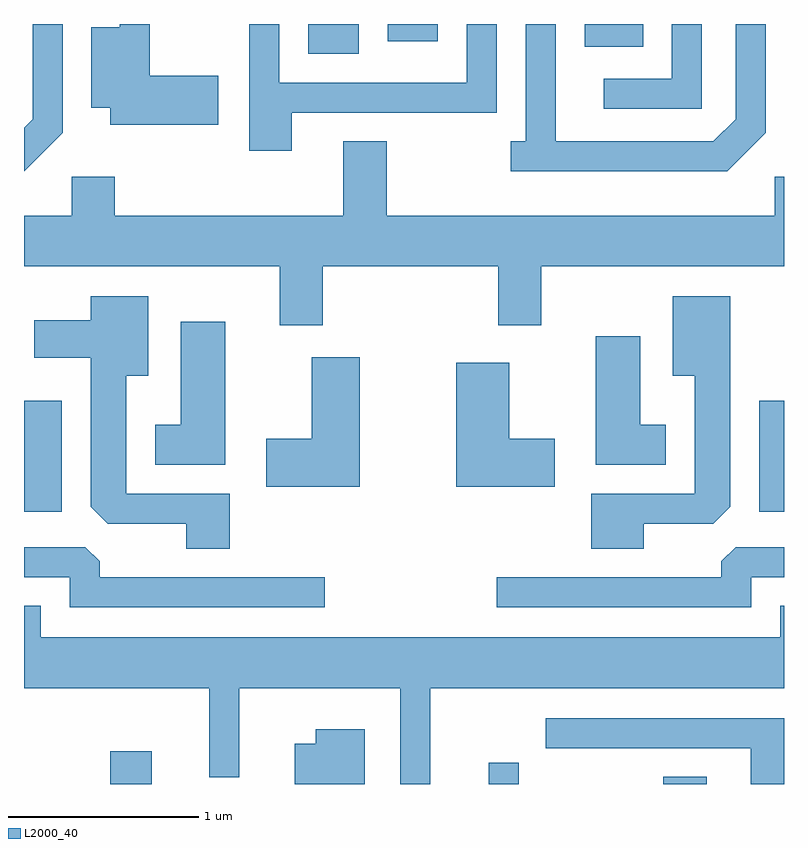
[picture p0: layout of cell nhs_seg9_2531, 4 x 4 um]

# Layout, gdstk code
import gdstk
lib = gdstk.Library(unit=1e-6, precision=1e-09)
def R(c, l, rs):  # rectangles x0, y0, x1, y1
    for r in rs: c.add(gdstk.rectangle(r[:2], r[2:], *l))
def P(c, l, *ps):  # polygons
    for p in ps: c.add(gdstk.Polygon(p, *l))
L2000_40 = (2000, 40)

nhs_seg9_2531 = lib.new_cell('nhs_seg9_2531')
R(nhs_seg9_2531, L2000_40, [(260.066,1982.432,260.284,1982.604), (262.056,1982.432,262.214,1982.543), (262.976,1982.432,263.204,1982.469), (259.611,1983.866,259.809,1984.449), (263.481,1983.866,263.611,1984.449), (261.106,1986.276,261.374,1986.432), (262.561,1986.311,262.869,1986.432), (261.526,1986.341,261.789,1986.432)])
P(nhs_seg9_2531, L2000_40, [(263.179,1986.432),(263.021,1986.432),(263.021,1986.144),(262.663,1986.144),(262.663,1985.986),(263.179,1985.986)],
  [(259.814,1985.859),(259.814,1986.432),(259.656,1986.432),(259.656,1985.932),(259.611,1985.887),(259.611,1985.656)],
  [(260.634,1986.159),(260.274,1986.159),(260.274,1986.432),(260.116,1986.432),(260.116,1986.414),(259.966,1986.414),(259.966,1985.991),(260.066,1985.991),(260.066,1985.901),(260.634,1985.901)],
  [(263.514,1985.859),(263.514,1986.432),(263.356,1986.432),(263.356,1985.932),(263.239,1985.814),(262.409,1985.814),(262.409,1986.432),(262.251,1986.432),(262.251,1985.814),(262.173,1985.814),(262.173,1985.656),(263.312,1985.656)],
  [(261.019,1985.966),(262.099,1985.966),(262.099,1986.432),(261.941,1986.432),(261.941,1986.124),(260.954,1986.124),(260.954,1986.432),(260.796,1986.432),(260.796,1985.766),(261.019,1985.766)],
  [(261.184,1985.156),(262.106,1985.156),(262.106,1984.846),(262.334,1984.846),(262.334,1985.156),(263.611,1985.156),(263.611,1985.629),(263.561,1985.629),(263.561,1985.424),(261.519,1985.424),(261.519,1985.814),(261.291,1985.814),(261.291,1985.424),(260.089,1985.424),(260.089,1985.629),(259.861,1985.629),(259.861,1985.424),(259.611,1985.424),(259.611,1985.156),(260.956,1985.156),(260.956,1984.846),(261.184,1984.846)],
  [(262.874,1983.801),(263.239,1983.801),(263.329,1983.892),(263.329,1984.999),(263.026,1984.999),(263.026,1984.581),(263.141,1984.581),(263.141,1983.959),(262.596,1983.959),(262.596,1983.671),(262.874,1983.671)],
  [(260.694,1983.959),(260.149,1983.959),(260.149,1984.581),(260.264,1984.581),(260.264,1984.999),(259.961,1984.999),(259.961,1984.874),(259.666,1984.874),(259.666,1984.676),(259.961,1984.676),(259.961,1983.892),(260.052,1983.801),(260.466,1983.801),(260.466,1983.671),(260.694,1983.671)],
  [(260.669,1984.864),(260.436,1984.864),(260.436,1984.324),(260.301,1984.324),(260.301,1984.111),(260.669,1984.111)],
  [(262.989,1984.324),(262.854,1984.324),(262.854,1984.789),(262.621,1984.789),(262.621,1984.111),(262.989,1984.111)],
  [(261.379,1984.679),(261.126,1984.679),(261.126,1984.249),(260.886,1984.249),(260.886,1983.996),(261.379,1983.996)],
  [(262.404,1984.249),(262.164,1984.249),(262.164,1984.649),(261.886,1984.649),(261.886,1983.996),(262.404,1983.996)],
  [(261.193,1983.519),(260.009,1983.519),(260.009,1983.604),(259.933,1983.679),(259.611,1983.679),(259.611,1983.521),(259.851,1983.521),(259.851,1983.361),(261.193,1983.361)],
  [(263.439,1983.521),(263.611,1983.521),(263.611,1983.679),(263.357,1983.679),(263.281,1983.604),(263.281,1983.519),(262.098,1983.519),(262.098,1983.361),(263.439,1983.361)],
  [(261.749,1982.936),(263.611,1982.936),(263.611,1983.369),(263.591,1983.369),(263.591,1983.204),(259.699,1983.204),(259.699,1983.369),(259.611,1983.369),(259.611,1982.936),(260.586,1982.936),(260.586,1982.468),(260.744,1982.468),(260.744,1982.936),(261.591,1982.936),(261.591,1982.432),(261.749,1982.432)],
  [(263.611,1982.779),(262.358,1982.779),(262.358,1982.621),(263.436,1982.621),(263.436,1982.432),(263.611,1982.432)],
  [(261.404,1982.719),(261.146,1982.719),(261.146,1982.644),(261.036,1982.644),(261.036,1982.432),(261.404,1982.432)])

lib.write_gds('nhs_seg9_2531.gds')
